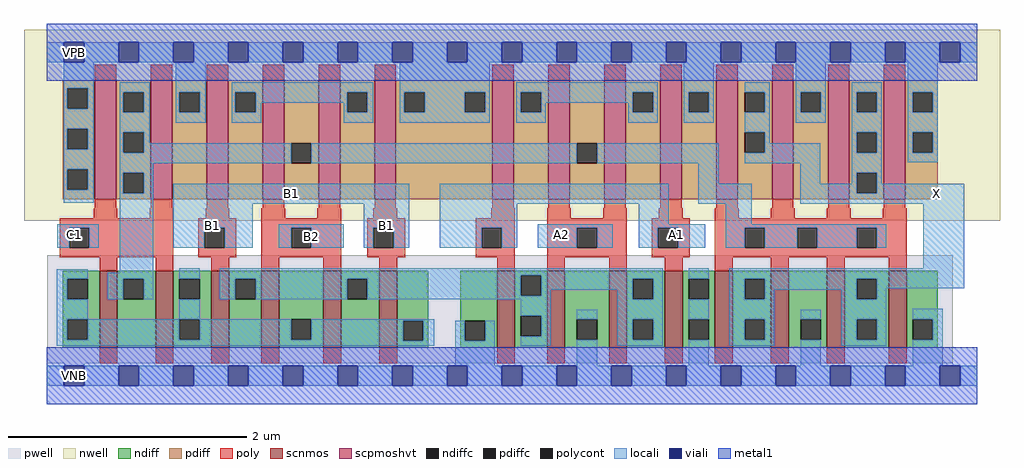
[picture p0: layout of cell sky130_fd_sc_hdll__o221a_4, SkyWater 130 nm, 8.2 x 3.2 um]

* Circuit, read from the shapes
.subckt sky130_fd_sc_hdll__o221a_4 A1 A2 B1 B2 C1 VGND VNB VPB VPWR X
XM1 n1 C1 n2 VNB sky130_fd_pr__nfet_01v8 w=0.65 l=0.15 m=2
XM2 n3 B1 n2 VNB sky130_fd_pr__nfet_01v8 w=0.65 l=0.15 m=2
XM3 n2 B2 n3 VNB sky130_fd_pr__nfet_01v8 w=0.65 l=0.15 m=2
XM4 n3 A1 VGND VNB sky130_fd_pr__nfet_01v8 w=0.65 l=0.15 m=2
XM5 VGND A2 n3 VNB sky130_fd_pr__nfet_01v8 w=0.65 l=0.15 m=2
XM6 X n1 VGND VNB sky130_fd_pr__nfet_01v8 w=0.65 l=0.15 m=4
XM7 n1 C1 VPWR VPB sky130_fd_pr__pfet_01v8_hvt w=1 l=0.18 m=2
XM8 n4 B1 VPWR VPB sky130_fd_pr__pfet_01v8_hvt w=1 l=0.18 m=2
XM9 n1 B2 n4 VPB sky130_fd_pr__pfet_01v8_hvt w=1 l=0.18 m=2
XM10 n5 A1 VPWR VPB sky130_fd_pr__pfet_01v8_hvt w=1 l=0.18 m=2
XM11 n1 A2 n5 VPB sky130_fd_pr__pfet_01v8_hvt w=1 l=0.18 m=2
XM12 X n1 VPWR VPB sky130_fd_pr__pfet_01v8_hvt w=1 l=0.18 m=4
.ends

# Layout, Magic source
magic
tech sky130A
magscale 1 2
<< nwell >>
rect -38 261 1602 582
<< pwell >>
rect 1 21 1523 203
rect 30 -17 64 21
<< scnmos >>
rect 89 47 119 177
rect 183 47 213 177
rect 277 47 307 177
rect 361 47 391 177
rect 465 47 495 177
rect 559 47 589 177
rect 757 47 787 177
rect 841 47 871 177
rect 945 47 975 177
rect 1039 47 1069 177
rect 1123 47 1153 177
rect 1217 47 1247 177
rect 1311 47 1341 177
rect 1415 47 1445 177
<< scpmoshvt >>
rect 81 297 117 497
rect 175 297 211 497
rect 269 297 305 497
rect 363 297 399 497
rect 457 297 493 497
rect 551 297 587 497
rect 749 297 785 497
rect 843 297 879 497
rect 937 297 973 497
rect 1031 297 1067 497
rect 1125 297 1161 497
rect 1219 297 1255 497
rect 1313 297 1349 497
rect 1407 297 1443 497
<< ndiff >>
rect 27 163 89 177
rect 27 129 35 163
rect 69 129 89 163
rect 27 95 89 129
rect 27 61 35 95
rect 69 61 89 95
rect 27 47 89 61
rect 119 163 183 177
rect 119 129 129 163
rect 163 129 183 163
rect 119 47 183 129
rect 213 163 277 177
rect 213 129 223 163
rect 257 129 277 163
rect 213 95 277 129
rect 213 61 223 95
rect 257 61 277 95
rect 213 47 277 61
rect 307 163 361 177
rect 307 129 317 163
rect 351 129 361 163
rect 307 47 361 129
rect 391 95 465 177
rect 391 61 411 95
rect 445 61 465 95
rect 391 47 465 61
rect 495 163 559 177
rect 495 129 505 163
rect 539 129 559 163
rect 495 47 559 129
rect 589 93 641 177
rect 589 59 599 93
rect 633 59 641 93
rect 589 47 641 59
rect 695 93 757 177
rect 695 59 703 93
rect 737 59 757 93
rect 695 47 757 59
rect 787 169 841 177
rect 787 135 797 169
rect 831 135 841 169
rect 787 101 841 135
rect 787 67 797 101
rect 831 67 841 101
rect 787 47 841 67
rect 871 95 945 177
rect 871 61 891 95
rect 925 61 945 95
rect 871 47 945 61
rect 975 163 1039 177
rect 975 129 985 163
rect 1019 129 1039 163
rect 975 95 1039 129
rect 975 61 985 95
rect 1019 61 1039 95
rect 975 47 1039 61
rect 1069 163 1123 177
rect 1069 129 1079 163
rect 1113 129 1123 163
rect 1069 95 1123 129
rect 1069 61 1079 95
rect 1113 61 1123 95
rect 1069 47 1123 61
rect 1153 163 1217 177
rect 1153 129 1173 163
rect 1207 129 1217 163
rect 1153 95 1217 129
rect 1153 61 1173 95
rect 1207 61 1217 95
rect 1153 47 1217 61
rect 1247 95 1311 177
rect 1247 61 1267 95
rect 1301 61 1311 95
rect 1247 47 1311 61
rect 1341 163 1415 177
rect 1341 129 1361 163
rect 1395 129 1415 163
rect 1341 95 1415 129
rect 1341 61 1361 95
rect 1395 61 1415 95
rect 1341 47 1415 61
rect 1445 95 1497 177
rect 1445 61 1455 95
rect 1489 61 1497 95
rect 1445 47 1497 61
<< pdiff >>
rect 27 483 81 497
rect 27 449 35 483
rect 69 449 81 483
rect 27 415 81 449
rect 27 381 35 415
rect 69 381 81 415
rect 27 347 81 381
rect 27 313 35 347
rect 69 313 81 347
rect 27 297 81 313
rect 117 477 175 497
rect 117 443 129 477
rect 163 443 175 477
rect 117 409 175 443
rect 117 375 129 409
rect 163 375 175 409
rect 117 341 175 375
rect 117 307 129 341
rect 163 307 175 341
rect 117 297 175 307
rect 211 477 269 497
rect 211 443 223 477
rect 257 443 269 477
rect 211 297 269 443
rect 305 477 363 497
rect 305 443 317 477
rect 351 443 363 477
rect 305 297 363 443
rect 399 391 457 497
rect 399 357 411 391
rect 445 357 457 391
rect 399 297 457 357
rect 493 477 551 497
rect 493 443 505 477
rect 539 443 551 477
rect 493 297 551 443
rect 587 477 749 497
rect 587 443 601 477
rect 635 443 703 477
rect 737 443 749 477
rect 587 297 749 443
rect 785 477 843 497
rect 785 443 797 477
rect 831 443 843 477
rect 785 297 843 443
rect 879 391 937 497
rect 879 357 891 391
rect 925 357 937 391
rect 879 297 937 357
rect 973 477 1031 497
rect 973 443 985 477
rect 1019 443 1031 477
rect 973 297 1031 443
rect 1067 477 1125 497
rect 1067 443 1079 477
rect 1113 443 1125 477
rect 1067 297 1125 443
rect 1161 477 1219 497
rect 1161 443 1173 477
rect 1207 443 1219 477
rect 1161 409 1219 443
rect 1161 375 1173 409
rect 1207 375 1219 409
rect 1161 297 1219 375
rect 1255 477 1313 497
rect 1255 443 1267 477
rect 1301 443 1313 477
rect 1255 297 1313 443
rect 1349 477 1407 497
rect 1349 443 1361 477
rect 1395 443 1407 477
rect 1349 409 1407 443
rect 1349 375 1361 409
rect 1395 375 1407 409
rect 1349 341 1407 375
rect 1349 307 1361 341
rect 1395 307 1407 341
rect 1349 297 1407 307
rect 1443 477 1497 497
rect 1443 443 1455 477
rect 1489 443 1497 477
rect 1443 409 1497 443
rect 1443 375 1455 409
rect 1489 375 1497 409
rect 1443 297 1497 375
<< ndiffc >>
rect 35 129 69 163
rect 35 61 69 95
rect 129 129 163 163
rect 223 129 257 163
rect 223 61 257 95
rect 317 129 351 163
rect 411 61 445 95
rect 505 129 539 163
rect 599 59 633 93
rect 703 59 737 93
rect 797 135 831 169
rect 797 67 831 101
rect 891 61 925 95
rect 985 129 1019 163
rect 985 61 1019 95
rect 1079 129 1113 163
rect 1079 61 1113 95
rect 1173 129 1207 163
rect 1173 61 1207 95
rect 1267 61 1301 95
rect 1361 129 1395 163
rect 1361 61 1395 95
rect 1455 61 1489 95
<< pdiffc >>
rect 35 449 69 483
rect 35 381 69 415
rect 35 313 69 347
rect 129 443 163 477
rect 129 375 163 409
rect 129 307 163 341
rect 223 443 257 477
rect 317 443 351 477
rect 411 357 445 391
rect 505 443 539 477
rect 601 443 635 477
rect 703 443 737 477
rect 797 443 831 477
rect 891 357 925 391
rect 985 443 1019 477
rect 1079 443 1113 477
rect 1173 443 1207 477
rect 1173 375 1207 409
rect 1267 443 1301 477
rect 1361 443 1395 477
rect 1361 375 1395 409
rect 1361 307 1395 341
rect 1455 443 1489 477
rect 1455 375 1489 409
<< poly >>
rect 81 497 117 523
rect 175 497 211 523
rect 269 497 305 523
rect 363 497 399 523
rect 457 497 493 523
rect 551 497 587 523
rect 749 497 785 523
rect 843 497 879 523
rect 937 497 973 523
rect 1031 497 1067 523
rect 1125 497 1161 523
rect 1219 497 1255 523
rect 1313 497 1349 523
rect 1407 497 1443 523
rect 81 282 117 297
rect 175 282 211 297
rect 269 282 305 297
rect 363 282 399 297
rect 457 282 493 297
rect 551 282 587 297
rect 749 282 785 297
rect 843 282 879 297
rect 937 282 973 297
rect 1031 282 1067 297
rect 1125 282 1161 297
rect 1219 282 1255 297
rect 1313 282 1349 297
rect 1407 282 1443 297
rect 79 265 119 282
rect 173 265 213 282
rect 267 265 307 282
rect 361 265 401 282
rect 455 265 495 282
rect 549 265 589 282
rect 747 265 787 282
rect 22 249 213 265
rect 22 215 38 249
rect 72 215 213 249
rect 22 199 213 215
rect 255 249 319 265
rect 255 215 265 249
rect 299 215 319 249
rect 255 199 319 215
rect 361 249 495 265
rect 361 215 411 249
rect 445 215 495 249
rect 361 199 495 215
rect 539 249 603 265
rect 539 215 549 249
rect 583 215 603 249
rect 539 199 603 215
rect 721 249 787 265
rect 721 215 731 249
rect 765 215 787 249
rect 721 199 787 215
rect 89 177 119 199
rect 183 177 213 199
rect 277 177 307 199
rect 361 177 391 199
rect 465 177 495 199
rect 559 177 589 199
rect 757 177 787 199
rect 841 265 881 282
rect 935 265 975 282
rect 1029 265 1069 282
rect 1123 265 1163 282
rect 1217 265 1257 282
rect 1311 265 1351 282
rect 1405 265 1445 282
rect 841 249 975 265
rect 841 215 891 249
rect 925 215 975 249
rect 841 199 975 215
rect 1017 249 1081 265
rect 1017 215 1027 249
rect 1061 215 1081 249
rect 1017 199 1081 215
rect 1123 249 1445 265
rect 1123 215 1173 249
rect 1207 215 1261 249
rect 1295 215 1361 249
rect 1395 215 1445 249
rect 1123 199 1445 215
rect 841 177 871 199
rect 945 177 975 199
rect 1039 177 1069 199
rect 1123 177 1153 199
rect 1217 177 1247 199
rect 1311 177 1341 199
rect 1415 177 1445 199
rect 89 21 119 47
rect 183 21 213 47
rect 277 21 307 47
rect 361 21 391 47
rect 465 21 495 47
rect 559 21 589 47
rect 757 21 787 47
rect 841 21 871 47
rect 945 21 975 47
rect 1039 21 1069 47
rect 1123 21 1153 47
rect 1217 21 1247 47
rect 1311 21 1341 47
rect 1415 21 1445 47
<< polycont >>
rect 38 215 72 249
rect 265 215 299 249
rect 411 215 445 249
rect 549 215 583 249
rect 731 215 765 249
rect 891 215 925 249
rect 1027 215 1061 249
rect 1173 215 1207 249
rect 1261 215 1295 249
rect 1361 215 1395 249
<< locali >>
rect 0 527 29 561
rect 63 527 121 561
rect 155 527 213 561
rect 247 527 305 561
rect 339 527 397 561
rect 431 527 489 561
rect 523 527 581 561
rect 615 527 673 561
rect 707 527 765 561
rect 799 527 857 561
rect 891 527 949 561
rect 983 527 1041 561
rect 1075 527 1133 561
rect 1167 527 1225 561
rect 1259 527 1317 561
rect 1351 527 1409 561
rect 1443 527 1501 561
rect 1535 527 1564 561
rect 29 483 79 527
rect 29 449 35 483
rect 69 449 79 483
rect 29 415 79 449
rect 29 381 35 415
rect 69 381 79 415
rect 29 347 79 381
rect 29 313 35 347
rect 69 313 79 347
rect 29 291 79 313
rect 123 477 173 493
rect 123 443 129 477
rect 163 443 173 477
rect 123 409 173 443
rect 217 477 267 527
rect 217 443 223 477
rect 257 443 267 477
rect 217 425 267 443
rect 311 477 549 493
rect 311 443 317 477
rect 351 459 505 477
rect 351 443 361 459
rect 311 425 361 443
rect 499 443 505 459
rect 539 443 549 477
rect 499 425 549 443
rect 593 477 745 527
rect 593 443 601 477
rect 635 443 703 477
rect 737 443 745 477
rect 593 425 745 443
rect 789 477 1027 493
rect 789 443 797 477
rect 831 459 985 477
rect 831 443 839 459
rect 789 425 839 443
rect 977 443 985 459
rect 1019 443 1027 477
rect 977 425 1027 443
rect 1071 477 1121 527
rect 1071 443 1079 477
rect 1113 443 1121 477
rect 1071 425 1121 443
rect 1173 477 1215 493
rect 1207 443 1215 477
rect 123 375 129 409
rect 163 391 173 409
rect 1173 409 1215 443
rect 1259 477 1309 527
rect 1259 443 1267 477
rect 1301 443 1309 477
rect 1259 425 1309 443
rect 1353 477 1403 493
rect 1353 443 1361 477
rect 1395 443 1403 477
rect 163 375 411 391
rect 123 357 411 375
rect 445 357 891 391
rect 925 357 1129 391
rect 1207 391 1215 409
rect 1353 409 1403 443
rect 1207 375 1300 391
rect 1173 357 1300 375
rect 123 341 179 357
rect 123 307 129 341
rect 163 307 179 341
rect 1095 323 1129 357
rect 1266 323 1300 357
rect 1353 375 1361 409
rect 1395 375 1403 409
rect 1353 341 1403 375
rect 1447 477 1497 527
rect 1447 443 1455 477
rect 1489 443 1497 477
rect 1447 409 1497 443
rect 1447 375 1455 409
rect 1489 375 1497 409
rect 1447 359 1497 375
rect 1353 323 1361 341
rect 18 249 88 255
rect 18 215 38 249
rect 72 215 88 249
rect 17 163 69 179
rect 123 173 179 307
rect 213 289 609 323
rect 213 249 346 289
rect 213 215 265 249
rect 299 215 346 249
rect 390 249 499 255
rect 390 215 411 249
rect 445 215 499 249
rect 533 249 609 289
rect 533 215 549 249
rect 583 215 609 249
rect 661 289 1045 323
rect 1095 289 1185 323
rect 1266 307 1361 323
rect 1395 323 1403 341
rect 1395 307 1542 323
rect 1266 289 1542 307
rect 661 249 791 289
rect 995 255 1045 289
rect 1141 255 1185 289
rect 661 215 731 249
rect 765 215 791 249
rect 825 249 951 255
rect 825 215 891 249
rect 925 215 951 249
rect 995 249 1107 255
rect 995 215 1027 249
rect 1061 215 1107 249
rect 1141 249 1411 255
rect 1141 215 1173 249
rect 1207 215 1261 249
rect 1295 215 1361 249
rect 1395 215 1411 249
rect 1473 181 1542 289
rect 17 129 35 163
rect 103 163 179 173
rect 103 129 129 163
rect 163 129 179 163
rect 223 163 257 181
rect 291 169 1035 181
rect 291 163 797 169
rect 291 129 317 163
rect 351 129 505 163
rect 539 135 797 163
rect 831 163 1035 169
rect 831 145 985 163
rect 831 135 847 145
rect 539 129 847 135
rect 17 95 69 129
rect 223 95 257 129
rect 797 101 847 129
rect 959 129 985 145
rect 1019 129 1035 163
rect 17 61 35 95
rect 69 61 223 95
rect 257 61 411 95
rect 445 93 651 95
rect 445 61 599 93
rect 17 59 599 61
rect 633 59 651 93
rect 17 51 651 59
rect 687 59 703 93
rect 737 59 753 93
rect 687 17 753 59
rect 831 67 847 101
rect 797 51 847 67
rect 891 95 925 111
rect 891 17 925 61
rect 959 95 1035 129
rect 959 61 985 95
rect 1019 61 1035 95
rect 959 51 1035 61
rect 1079 163 1113 181
rect 1079 95 1113 129
rect 1079 17 1113 61
rect 1147 163 1542 181
rect 1147 129 1173 163
rect 1207 145 1361 163
rect 1207 129 1223 145
rect 1147 95 1223 129
rect 1335 129 1361 145
rect 1395 147 1542 163
rect 1395 129 1411 147
rect 1147 61 1173 95
rect 1207 61 1223 95
rect 1147 51 1223 61
rect 1267 95 1301 111
rect 1267 17 1301 61
rect 1335 95 1411 129
rect 1335 61 1361 95
rect 1395 61 1411 95
rect 1335 51 1411 61
rect 1455 95 1506 113
rect 1489 61 1506 95
rect 1455 17 1506 61
rect 0 -17 29 17
rect 63 -17 121 17
rect 155 -17 213 17
rect 247 -17 305 17
rect 339 -17 397 17
rect 431 -17 489 17
rect 523 -17 581 17
rect 615 -17 673 17
rect 707 -17 765 17
rect 799 -17 857 17
rect 891 -17 949 17
rect 983 -17 1041 17
rect 1075 -17 1133 17
rect 1167 -17 1225 17
rect 1259 -17 1317 17
rect 1351 -17 1409 17
rect 1443 -17 1501 17
rect 1535 -17 1564 17
<< viali >>
rect 29 527 63 561
rect 121 527 155 561
rect 213 527 247 561
rect 305 527 339 561
rect 397 527 431 561
rect 489 527 523 561
rect 581 527 615 561
rect 673 527 707 561
rect 765 527 799 561
rect 857 527 891 561
rect 949 527 983 561
rect 1041 527 1075 561
rect 1133 527 1167 561
rect 1225 527 1259 561
rect 1317 527 1351 561
rect 1409 527 1443 561
rect 1501 527 1535 561
rect 29 -17 63 17
rect 121 -17 155 17
rect 213 -17 247 17
rect 305 -17 339 17
rect 397 -17 431 17
rect 489 -17 523 17
rect 581 -17 615 17
rect 673 -17 707 17
rect 765 -17 799 17
rect 857 -17 891 17
rect 949 -17 983 17
rect 1041 -17 1075 17
rect 1133 -17 1167 17
rect 1225 -17 1259 17
rect 1317 -17 1351 17
rect 1409 -17 1443 17
rect 1501 -17 1535 17
<< metal1 >>
rect 0 561 1564 592
rect 0 527 29 561
rect 63 527 121 561
rect 155 527 213 561
rect 247 527 305 561
rect 339 527 397 561
rect 431 527 489 561
rect 523 527 581 561
rect 615 527 673 561
rect 707 527 765 561
rect 799 527 857 561
rect 891 527 949 561
rect 983 527 1041 561
rect 1075 527 1133 561
rect 1167 527 1225 561
rect 1259 527 1317 561
rect 1351 527 1409 561
rect 1443 527 1501 561
rect 1535 527 1564 561
rect 0 496 1564 527
rect 0 17 1564 48
rect 0 -17 29 17
rect 63 -17 121 17
rect 155 -17 213 17
rect 247 -17 305 17
rect 339 -17 397 17
rect 431 -17 489 17
rect 523 -17 581 17
rect 615 -17 673 17
rect 707 -17 765 17
rect 799 -17 857 17
rect 891 -17 949 17
rect 983 -17 1041 17
rect 1075 -17 1133 17
rect 1167 -17 1225 17
rect 1259 -17 1317 17
rect 1351 -17 1409 17
rect 1443 -17 1501 17
rect 1535 -17 1564 17
rect 0 -48 1564 -17
<< labels >>
flabel locali s 30 221 64 255 0 FreeSans 400 0 0 0 C1
port 5 nsew signal input
flabel locali s 1042 221 1076 255 0 FreeSans 400 180 0 0 A1
port 1 nsew signal input
flabel locali s 848 221 882 255 0 FreeSans 400 180 0 0 A2
port 2 nsew signal input
flabel locali s 533 215 609 289 0 FreeSans 400 0 0 0 B1
port 3 nsew signal input
flabel locali s 390 215 499 255 0 FreeSans 400 0 0 0 B2
port 4 nsew signal input
flabel locali s 1478 289 1512 323 0 FreeSans 400 0 0 0 X
port 10 nsew signal output
flabel pwell s 30 -17 64 17 0 FreeSans 200 0 0 0 VNB
port 7 nsew ground bidirectional
flabel nwell s 30 527 64 561 0 FreeSans 200 0 0 0 VPB
port 8 nsew power bidirectional
flabel metal1 s 30 -17 64 17 0 FreeSans 200 0 0 0 VGND
port 6 nsew ground bidirectional
flabel metal1 s 30 527 64 561 0 FreeSans 200 0 0 0 VPWR
port 9 nsew power bidirectional
rlabel comment s 0 0 0 0 4 o221a_4
rlabel locali s 213 289 609 323 1 B1
port 3 nsew signal input
rlabel locali s 213 215 346 289 1 B1
port 3 nsew signal input
<< properties >>
string LEFsite unithd
string LEFclass CORE
string FIXED_BBOX 0 0 1564 544
string GDS_FILE $PDKPATH/libs.ref/sky130_fd_sc_hdll/gds/sky130_fd_sc_hdll.gds
string LEFsymmetry X Y R90
string GDS_END 2503348
string GDS_START 2492026
string LEFproperties maskLayoutSubType "abstract" prCellType "standard" originalViewName "layout"
<< end >>
